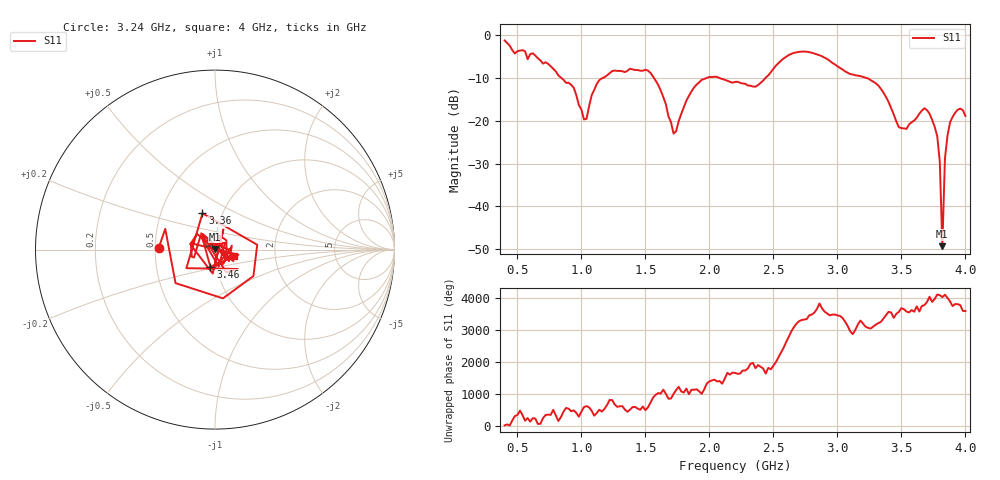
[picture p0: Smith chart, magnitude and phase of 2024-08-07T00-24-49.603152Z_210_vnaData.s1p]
!Created with skrf (http://scikit-rf.org).
# Hz S RI R 50.0
!freq ReS11 ImS11
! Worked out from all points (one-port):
!   181 points, 400 MHz to 4 GHz, reference 50 ohm
!   lowest |S11| = -49.3 dB at 3.82 GHz (marker M1), VSWR 1.01, Z = 50.2 + j0.282 ohm
!   |S11| at or under -10 dB: 1.568 GHz to 1.974 GHz (406 MHz wide, 22.9 % of centre); 2.083 GHz to 2.436 GHz (353.1 MHz wide, 15.6 % of centre); 3.233 GHz to end of sweep (the widest 3 of 4)
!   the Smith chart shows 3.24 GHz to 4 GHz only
!   S11 on the Smith chart (normalised r, x): 3.24 GHz: 0.52, +0.01; 3.36 GHz: 0.81, +0.34; 3.46 GHz: 0.93, -0.18; 4 GHz: 1.24, -0.09
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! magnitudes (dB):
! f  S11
! 400 MHz  -1.2
! 860 MHz  -10.4
! 940 MHz  -12.2
! 1.02 GHz  -19.6
! 1.14 GHz  -10.4
! 1.3 GHz  -8.3
! 1.52 GHz  -8.2
! 1.62 GHz  -12.9
! 1.72 GHz  -23.0
! 1.76 GHz  -20.1
! 1.94 GHz  -10.4
! 2.2 GHz  -10.9
! 2.36 GHz  -12.0
! 2.66 GHz  -4.1
! 3.1 GHz  -9.0
! 3.24 GHz  -10.1
! 3.36 GHz  -13.4
! 3.46 GHz  -20.1
! 3.56 GHz  -20.8
! 3.68 GHz  -17.0
! 3.76 GHz  -21.4
! 3.78 GHz  -23.6
! 3.8 GHz  -29.5
! 3.82 GHz  -49.3
! 3.84 GHz  -28.9
! 3.86 GHz  -23.5
! 3.94 GHz  -17.4
! 4 GHz  -18.8
